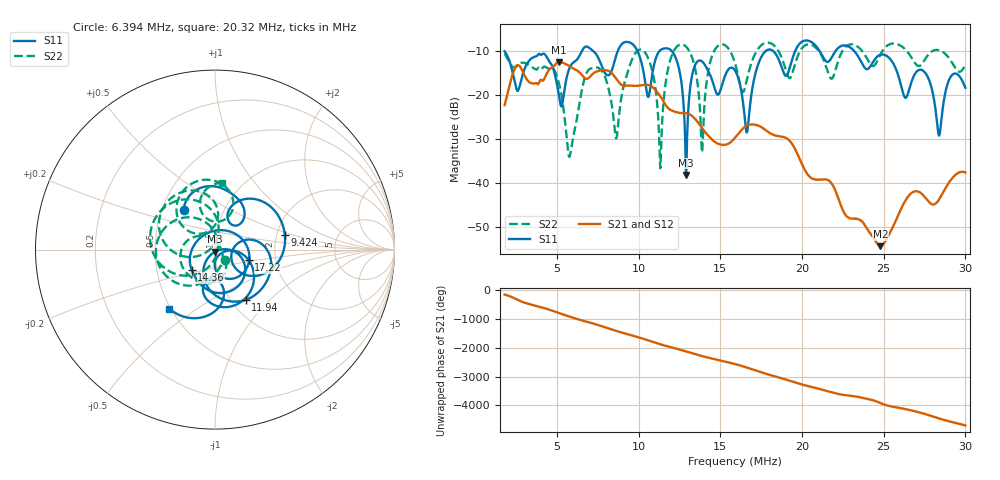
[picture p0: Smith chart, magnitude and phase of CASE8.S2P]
!Agilent Technologies,E5061B,MY49101568,A.02.00
!Date: Wed Mar 01 13:52:12 2023
!Data & Calibration Information:
!Freq	S11:SOLT2(OFF)	S21:SOLT2(OFF)	S12:SOLT2(OFF)	S22:SOLT2(OFF)
# Hz S dB R 50
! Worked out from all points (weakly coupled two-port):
!   1155 points, 1.8 MHz to 30 MHz, reference 50 ohm
!   highest |S21| = -12.52 dB at 5.123 MHz (marker M1); lowest = -54.4 dB at 24.79 MHz (marker M2)
!   lowest |S11| = -38.1 dB at 12.89 MHz (marker M3), VSWR 1.03, Z = 49.9 - j1.24 ohm
!   |S11| at or under -10 dB: start of sweep to 6.527 MHz; 12.03 MHz to 17.78 MHz (5.748 MHz wide, 38.6 % of centre); 23.19 MHz to end of sweep (the widest 3 of 7)
!   |S22| runs from -36.7 to -8.1 dB; largest |S21 - S12| = 0.0032
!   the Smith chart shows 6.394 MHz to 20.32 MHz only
!   S11 on the Smith chart (normalised r, x): 6.394 MHz: 0.64, +0.31; 9.424 MHz: 2.22, +0.42; 11.94 MHz: 1.17, -0.73; 14.36 MHz: 0.75, -0.18; 17.22 MHz: 1.45, -0.18; 20.32 MHz: 0.49, -0.39
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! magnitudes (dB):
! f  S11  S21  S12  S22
! 1.8 MHz  -10.1  -22.3  -22.3  -10.6
! 5.123 MHz  -20.0  -12.5  -12.5  -17.3
! 5.759 MHz  -14.0  -13.4  -13.4  -34.1
! 6.394 MHz  -11.0  -14.9  -14.8  -21.6
! 6.516 MHz  -10.1  -15.4  -15.3  -19.1
! 8.642 MHz  -10.9  -16.3  -16.3  -29.8
! 9.424 MHz  -8.0  -17.8  -17.8  -13.7
! 10.52 MHz  -19.8  -17.7  -17.7  -11.1
! 11.21 MHz  -10.4  -19.7  -19.7  -25.7
! 11.94 MHz  -9.7  -23.4  -23.4  -12.0
! 12.89 MHz  -38.1  -24.1  -24.2  -9.0
! 13.87 MHz  -12.3  -27.4  -27.5  -33.0
! 14.36 MHz  -15.3  -29.6  -29.7  -12.8
! 15.9 MHz  -14.4  -29.7  -29.8  -12.8
! 16.61 MHz  -28.5  -27.0  -27.0  -16.8
! 17.22 MHz  -14.1  -26.8  -26.9  -10.0
! 20.32 MHz  -7.6  -37.9  -38.0  -8.5
! 20.62 MHz  -8.1  -39.0  -39.0  -8.7
! 24.79 MHz  -10.9  -54.4  -54.2  -10.8
! 25.31 MHz  -11.5  -51.9  -51.8  -8.6
! 28.39 MHz  -29.3  -43.8  -43.7  -9.8
! 30 MHz  -18.4  -37.6  -37.6  -13.2
